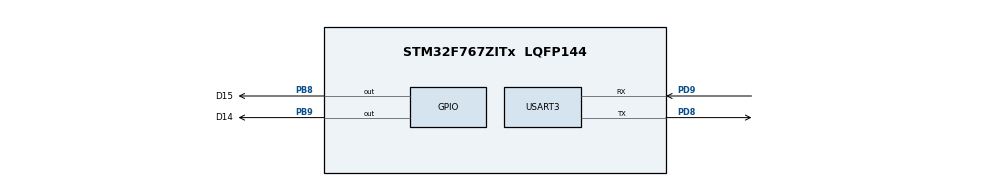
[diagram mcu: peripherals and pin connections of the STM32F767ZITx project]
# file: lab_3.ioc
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Mcu.Family=STM32F7
Mcu.Name=STM32F767ZITx
Mcu.Package=LQFP144
NVIC.PriorityGroup=NVIC_PRIORITYGROUP_4
PB8.GPIO_Label=D15
PB8.Signal=GPIO_Output
PB9.GPIO_Label=D14
PB9.Signal=GPIO_Output
PD8.Mode=Asynchronous
PD8.Signal=USART3_TX
PD9.Mode=Asynchronous
PD9.Signal=USART3_RX
ProjectManager.HeapSize=0x200
ProjectManager.StackSize=0x400
ProjectManager.TargetToolchain=STM32CubeIDE
RCC.HSE_VALUE=25000000
RCC.HSI_VALUE=16000000
RCC.LSE_VALUE=32768
RCC.USBFreq_Value=96000000
RCC.VCOOutputFreq_Value=192000000
USART3.VirtualMode-Asynchronous=VM_ASYNC
board=custom

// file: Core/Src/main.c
/* USER CODE BEGIN Header */
/**
  ******************************************************************************
  * @file           : main.c
  * @brief          : Main program body
  ******************************************************************************
  * @attention
  *
  * <h2><center>&copy; Copyright (c) 2020 STMicroelectronics.
  * All rights reserved.</center></h2>
  *
  * This software component is licensed by ST under BSD 3-Clause license,
  * the "License"; You may not use this file except in compliance with the
  * License. You may obtain a copy of the License at:
  *                        opensource.org/licenses/BSD-3-Clause
  *
  ******************************************************************************
  */
/* USER CODE END Header */

#include "main.h"

/* USER CODE BEGIN Includes */
#include "string.h"
/* USER CODE END Includes */

UART_HandleTypeDef huart3;

/* USER CODE BEGIN PV */

// for q3
char input;
uint8_t working_loop_flag = 1;
uint8_t is_1st_time = 1;

/* USER CODE END PV */

void SystemClock_Config(void);
static void MX_GPIO_Init(void);
static void MX_USART3_UART_Init(void);
/* USER CODE BEGIN PFP */
void q1();
void q2();
void q3();
void q4();

void blink_led(GPIO_TypeDef* port, uint16_t pin);
void send_str(char* str);
/* USER CODE END PFP */

int main(void)
{

  /* MCU Configuration--------------------------------------------------------*/

  /* Reset of all peripherals, Initializes the Flash interface and the Systick. */
  HAL_Init();

  /* Configure the system clock */
  SystemClock_Config();

  /* Initialize all configured peripherals */
  MX_GPIO_Init();
  MX_USART3_UART_Init();

  /* Infinite loop */
  /* USER CODE BEGIN WHILE */
  while (1)
  {
	  q3();
    /* USER CODE END WHILE */

  }
}

void SystemClock_Config(void)
{
  RCC_OscInitTypeDef RCC_OscInitStruct = {0};
  RCC_ClkInitTypeDef RCC_ClkInitStruct = {0};
  RCC_PeriphCLKInitTypeDef PeriphClkInitStruct = {0};

  /** Configure the main internal regulator output voltage
  */
  __HAL_RCC_PWR_CLK_ENABLE();
  __HAL_PWR_VOLTAGESCALING_CONFIG(PWR_REGULATOR_VOLTAGE_SCALE3);
  /** Initializes the CPU, AHB and APB busses clocks
  */
  RCC_OscInitStruct.OscillatorType = RCC_OSCILLATORTYPE_HSI;
  RCC_OscInitStruct.HSIState = RCC_HSI_ON;
  RCC_OscInitStruct.HSICalibrationValue = RCC_HSICALIBRATION_DEFAULT;
  RCC_OscInitStruct.PLL.PLLState = RCC_PLL_NONE;
  if (HAL_RCC_OscConfig(&RCC_OscInitStruct) != HAL_OK)
  {
    Error_Handler();
  }
  /** Initializes the CPU, AHB and APB busses clocks
  */
  RCC_ClkInitStruct.ClockType = RCC_CLOCKTYPE_HCLK|RCC_CLOCKTYPE_SYSCLK
                              |RCC_CLOCKTYPE_PCLK1|RCC_CLOCKTYPE_PCLK2;
  RCC_ClkInitStruct.SYSCLKSource = RCC_SYSCLKSOURCE_HSI;
  RCC_ClkInitStruct.AHBCLKDivider = RCC_SYSCLK_DIV1;
  RCC_ClkInitStruct.APB1CLKDivider = RCC_HCLK_DIV1;
  RCC_ClkInitStruct.APB2CLKDivider = RCC_HCLK_DIV1;

  if (HAL_RCC_ClockConfig(&RCC_ClkInitStruct, FLASH_LATENCY_0) != HAL_OK)
  {
    Error_Handler();
  }
  PeriphClkInitStruct.PeriphClockSelection = RCC_PERIPHCLK_USART3;
  PeriphClkInitStruct.Usart3ClockSelection = RCC_USART3CLKSOURCE_PCLK1;
  if (HAL_RCCEx_PeriphCLKConfig(&PeriphClkInitStruct) != HAL_OK)
  {
    Error_Handler();
  }
}

static void MX_USART3_UART_Init(void)
{

  huart3.Instance = USART3;
  huart3.Init.BaudRate = 115200;
  huart3.Init.WordLength = UART_WORDLENGTH_8B;
  huart3.Init.StopBits = UART_STOPBITS_1;
  huart3.Init.Parity = UART_PARITY_NONE;
  huart3.Init.Mode = UART_MODE_TX_RX;
  huart3.Init.HwFlowCtl = UART_HWCONTROL_NONE;
  huart3.Init.OverSampling = UART_OVERSAMPLING_16;
  huart3.Init.OneBitSampling = UART_ONE_BIT_SAMPLE_DISABLE;
  huart3.AdvancedInit.AdvFeatureInit = UART_ADVFEATURE_NO_INIT;
  if (HAL_UART_Init(&huart3) != HAL_OK)
  {
    Error_Handler();
  }

}

static void MX_GPIO_Init(void)
{
  GPIO_InitTypeDef GPIO_InitStruct = {0};

  /* GPIO Ports Clock Enable */
  __HAL_RCC_GPIOD_CLK_ENABLE();
  __HAL_RCC_GPIOB_CLK_ENABLE();

  /*Configure GPIO pin Output Level */
  HAL_GPIO_WritePin(GPIOB, D15_Pin|D14_Pin, GPIO_PIN_RESET);

  /*Configure GPIO pins : D15_Pin D14_Pin */
  GPIO_InitStruct.Pin = D15_Pin|D14_Pin;
  GPIO_InitStruct.Mode = GPIO_MODE_OUTPUT_PP;
  GPIO_InitStruct.Pull = GPIO_NOPULL;
  GPIO_InitStruct.Speed = GPIO_SPEED_FREQ_LOW;
  HAL_GPIO_Init(GPIOB, &GPIO_InitStruct);

}

/* USER CODE BEGIN 4 */
void q1() {

	char str[] = "Hello World\r\n";

	while (__HAL_UART_GET_FLAG(&huart3,UART_FLAG_TC)==RESET);

	HAL_UART_Transmit(&huart3,(uint8_t*) str, strlen(str), 1000);
	HAL_Delay(100);

}

void q2() {

	char ch1 = 'A';

	while (__HAL_UART_GET_FLAG(&huart3,UART_FLAG_TC)==RESET);

	HAL_UART_Transmit(&huart3,&ch1, sizeof(char), 1000);
	HAL_Delay(100);

}

void q3() {

	if (working_loop_flag){

	send_str("Input => ");

	// wait for get char
	while (input == 0) {
		HAL_UART_Receive(&huart3, &input, sizeof(char), 1000);
		HAL_Delay(100);
	}

	// print  the received char
	char output[10];
	sprintf(output, "%c\r\n", input);
	send_str(output);

	// if user want to quit
	if (input == 'q'){
		send_str("\r\nQUIT");
		working_loop_flag = 0;
	}

	// reset input value
	input = 0;

	}

}

void q4() {

	if (working_loop_flag){

		while (__HAL_UART_GET_FLAG(&huart3,UART_FLAG_TC)==RESET);

		if(is_1st_time){
			send_str("Display blinking LED Press (r,g)\r\n");
			send_str("Display a group member Press m\r\n");
			send_str("Quit Press q\r\n");
			is_1st_time = 0;
		}

		send_str("Input => ");

		// wait for get char
		while (input == 0) {
			HAL_UART_Receive(&huart3, &input, sizeof(char), 1000);
			HAL_Delay(100);
		}

		// print  the received char
		char output[10];
		sprintf(output, "%c\r\n", input);
		send_str(output);

		if (input == 'r'){
			blink_led(D14_GPIO_Port,D14_Pin);
		}
		else if (input == 'g'){
			blink_led(D15_GPIO_Port,D15_Pin);
		}
		else if (input == 'm'){
			send_str("61010402\r\nTantatorn Suksangwarn\r\n");
		}
		else if (input == 'q'){
			send_str("\r\nQUIT");
			working_loop_flag = 0;
		}
		else {
			send_str("Unknown Command\r\n");
		}

		// reset input value
		input = 0;

	}

}

void blink_led(GPIO_TypeDef* port, uint16_t pin) {

	for(int i=0;i<3;i++) {
		HAL_GPIO_TogglePin(port, pin);
		HAL_Delay(300);
		HAL_GPIO_TogglePin(port, pin);
		HAL_Delay(300);
	}

}

void send_str(char* str) {
	while (__HAL_UART_GET_FLAG(&huart3,UART_FLAG_TC)==RESET);
	HAL_UART_Transmit(&huart3,(uint8_t*) str, strlen(str), 1000);
	HAL_Delay(100);
}
/* USER CODE END 4 */

void Error_Handler(void)
{
}

/************************ (C) COPYRIGHT STMicroelectronics *****END OF FILE****/
